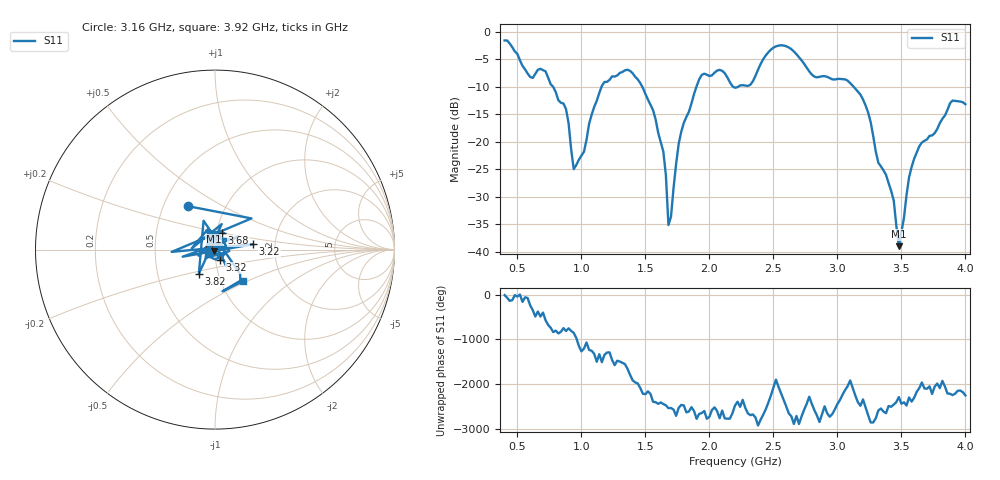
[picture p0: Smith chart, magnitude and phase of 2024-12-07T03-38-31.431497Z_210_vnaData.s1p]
!Created with skrf (http://scikit-rf.org).
# Hz S RI R 50.0
!freq ReS11 ImS11
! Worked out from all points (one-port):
!   181 points, 400 MHz to 4 GHz, reference 50 ohm
!   lowest |S11| = -39.0 dB at 3.48 GHz (marker M1), VSWR 1.02, Z = 49.4 - j0.911 ohm
!   |S11| at or under -10 dB: 778.3 MHz to 1.158 GHz (379.5 MHz wide, 39.2 % of centre); 1.475 GHz to 1.899 GHz (423.9 MHz wide, 25.1 % of centre); 3.126 GHz to end of sweep (the widest 3 of 4)
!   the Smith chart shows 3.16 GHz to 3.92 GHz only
!   S11 on the Smith chart (normalised r, x): 3.16 GHz: 0.66, +0.35; 3.22 GHz: 1.53, +0.10; 3.32 GHz: 1.05, -0.12; 3.68 GHz: 1.06, +0.20; 3.82 GHz: 0.81, -0.22; 3.92 GHz: 1.27, -0.47
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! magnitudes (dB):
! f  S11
! 400 MHz  -1.6
! 860 MHz  -13.1
! 940 MHz  -25.0
! 1.16 GHz  -9.9
! 1.3 GHz  -7.5
! 1.4 GHz  -7.5
! 1.56 GHz  -14.3
! 1.64 GHz  -21.8
! 1.66 GHz  -26.1
! 1.68 GHz  -35.2
! 1.76 GHz  -20.4
! 1.94 GHz  -7.9
! 2.2 GHz  -10.2
! 2.32 GHz  -9.7
! 2.5 GHz  -2.9
! 2.66 GHz  -3.6
! 2.82 GHz  -8.2
! 3.1 GHz  -9.4
! 3.16 GHz  -10.9
! 3.22 GHz  -13.4
! 3.32 GHz  -23.9
! 3.44 GHz  -30.7
! 3.48 GHz  -39.0
! 3.56 GHz  -26.5
! 3.68 GHz  -19.9
! 3.82 GHz  -15.9
! 3.92 GHz  -12.6
! 4 GHz  -13.2
